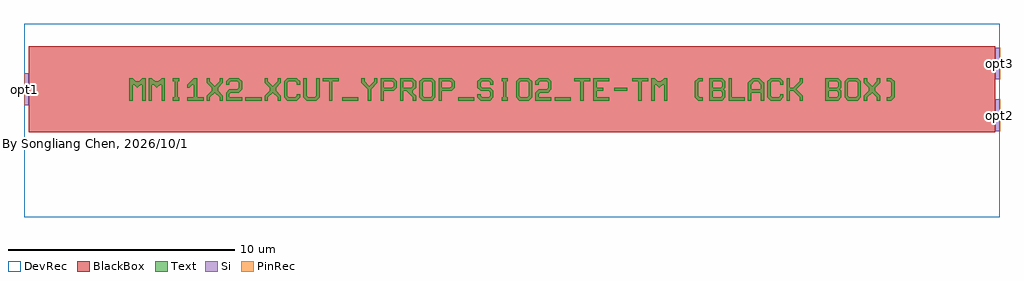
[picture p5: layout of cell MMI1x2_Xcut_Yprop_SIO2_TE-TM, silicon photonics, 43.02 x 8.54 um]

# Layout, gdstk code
import gdstk
lib = gdstk.Library(unit=1e-6, precision=1e-10)
def R(c, l, rs):  # rectangles x0, y0, x1, y1
    for r in rs: c.add(gdstk.rectangle(r[:2], r[2:], *l))
def P(c, l, *ps):  # polygons
    for p in ps: c.add(gdstk.Polygon(p, *l))
Si = (1, 0)
PinRec = (1, 10)
Text = (10, 0)
DevRec = (68, 0)
BlackBox = (998, 0)

text_12 = lib.new_cell('TEXT$12')
R(text_12, Text, [(5.112,0,5.822,0.142), (9.372,0,10.082,0.142), (14.484,0,15.194,0.142), (18.744,0,19.454,0.142), (21.371,0.426,21.939,0.568)])
P(text_12, Text, [(0,0),(0,0.994),(0.142,0.994),(0.284,0.852),(0.426,0.852),(0.568,0.994),(0.71,0.994),(0.71,0),(0.568,0),(0.568,0.71),(0.497,0.71),(0.355,0.568),(0.213,0.71),(0.142,0.71),(0.142,0)],
  [(0.852,0),(0.852,0.994),(0.994,0.994),(1.136,0.852),(1.278,0.852),(1.42,0.994),(1.562,0.994),(1.562,0),(1.42,0),(1.42,0.71),(1.349,0.71),(1.207,0.568),(1.065,0.71),(0.994,0.71),(0.994,0)],
  [(1.917,0),(1.917,0.142),(1.988,0.142),(1.988,0.852),(1.917,0.852),(1.917,0.994),(2.201,0.994),(2.201,0.852),(2.13,0.852),(2.13,0.142),(2.201,0.142),(2.201,0)],
  [(2.556,0),(2.556,0.142),(2.84,0.142),(2.84,0.71),(2.769,0.71),(2.627,0.568),(2.556,0.568),(2.556,0.71),(2.84,0.994),(2.982,0.994),(2.982,0.142),(3.266,0.142),(3.266,0)],
  [(3.408,0),(3.408,0.213),(3.621,0.426),(3.621,0.568),(3.408,0.781),(3.408,0.994),(3.55,0.994),(3.55,0.852),(3.763,0.639),(3.976,0.852),(3.976,0.994),(4.118,0.994),(4.118,0.781),(3.905,0.568),(3.905,0.426),(4.118,0.213),(4.118,0),(3.976,0),(3.976,0.142),(3.763,0.355),(3.55,0.142),(3.55,0)],
  [(4.26,0),(4.26,0.355),(4.402,0.497),(4.757,0.497),(4.828,0.568),(4.828,0.781),(4.757,0.852),(4.473,0.852),(4.402,0.781),(4.402,0.71),(4.26,0.71),(4.26,0.852),(4.402,0.994),(4.828,0.994),(4.97,0.852),(4.97,0.497),(4.828,0.355),(4.473,0.355),(4.402,0.284),(4.402,0.142),(4.97,0.142),(4.97,0)],
  [(5.964,0),(5.964,0.213),(6.177,0.426),(6.177,0.568),(5.964,0.781),(5.964,0.994),(6.106,0.994),(6.106,0.852),(6.319,0.639),(6.532,0.852),(6.532,0.994),(6.674,0.994),(6.674,0.781),(6.461,0.568),(6.461,0.426),(6.674,0.213),(6.674,0),(6.532,0),(6.532,0.142),(6.319,0.355),(6.106,0.142),(6.106,0)],
  [(6.958,0),(6.816,0.142),(6.816,0.852),(6.958,0.994),(7.384,0.994),(7.526,0.852),(7.526,0.71),(7.384,0.71),(7.384,0.781),(7.313,0.852),(7.029,0.852),(6.958,0.781),(6.958,0.213),(7.029,0.142),(7.313,0.142),(7.384,0.213),(7.384,0.284),(7.526,0.284),(7.526,0.142),(7.384,0)],
  [(7.81,0),(7.668,0.142),(7.668,0.994),(7.81,0.994),(7.81,0.213),(7.881,0.142),(8.165,0.142),(8.236,0.213),(8.236,0.994),(8.378,0.994),(8.378,0.142),(8.236,0)],
  [(8.804,0),(8.804,0.852),(8.52,0.852),(8.52,0.994),(9.23,0.994),(9.23,0.852),(8.946,0.852),(8.946,0)],
  [(10.508,0),(10.508,0.497),(10.224,0.781),(10.224,0.994),(10.366,0.994),(10.366,0.852),(10.579,0.639),(10.792,0.852),(10.792,0.994),(10.934,0.994),(10.934,0.781),(10.65,0.497),(10.65,0)],
  [(11.076,0),(11.076,0.994),(11.644,0.994),(11.786,0.852),(11.786,0.568),(11.644,0.426),(11.218,0.426),(11.218,0.568),(11.573,0.568),(11.644,0.639),(11.644,0.781),(11.573,0.852),(11.218,0.852),(11.218,0)],
  [(11.928,0),(11.928,0.994),(12.496,0.994),(12.638,0.852),(12.07,0.852),(12.07,0.568),(12.425,0.568),(12.496,0.639),(12.496,0.781),(12.425,0.852),(12.638,0.852),(12.638,0.568),(12.496,0.426),(12.496,0.355),(12.638,0.213),(12.638,0),(12.496,0),(12.496,0.142),(12.212,0.426),(12.07,0.426),(12.07,0)],
  [(12.922,0),(12.78,0.142),(12.78,0.852),(12.922,0.994),(13.348,0.994),(13.49,0.852),(13.49,0.497),(13.348,0.497),(13.348,0.781),(13.277,0.852),(12.993,0.852),(12.922,0.781),(12.922,0.213),(12.993,0.142),(13.277,0.142),(13.348,0.213),(13.348,0.497),(13.49,0.497),(13.49,0.142),(13.348,0)],
  [(13.632,0),(13.632,0.994),(14.2,0.994),(14.342,0.852),(14.342,0.568),(14.2,0.426),(13.774,0.426),(13.774,0.568),(14.129,0.568),(14.2,0.639),(14.2,0.781),(14.129,0.852),(13.774,0.852),(13.774,0)],
  [(15.478,0),(15.336,0.142),(15.336,0.284),(15.478,0.284),(15.478,0.213),(15.549,0.142),(15.833,0.142),(15.904,0.213),(15.904,0.355),(15.833,0.426),(15.478,0.426),(15.336,0.568),(15.336,0.852),(15.478,0.994),(15.904,0.994),(16.046,0.852),(16.046,0.71),(15.904,0.71),(15.904,0.781),(15.833,0.852),(15.549,0.852),(15.478,0.781),(15.478,0.639),(15.549,0.568),(15.904,0.568),(16.046,0.426),(16.046,0.142),(15.904,0)],
  [(16.401,0),(16.401,0.142),(16.472,0.142),(16.472,0.852),(16.401,0.852),(16.401,0.994),(16.685,0.994),(16.685,0.852),(16.614,0.852),(16.614,0.142),(16.685,0.142),(16.685,0)],
  [(17.182,0),(17.04,0.142),(17.04,0.852),(17.182,0.994),(17.608,0.994),(17.75,0.852),(17.75,0.497),(17.608,0.497),(17.608,0.781),(17.537,0.852),(17.253,0.852),(17.182,0.781),(17.182,0.213),(17.253,0.142),(17.537,0.142),(17.608,0.213),(17.608,0.497),(17.75,0.497),(17.75,0.142),(17.608,0)],
  [(17.892,0),(17.892,0.355),(18.034,0.497),(18.389,0.497),(18.46,0.568),(18.46,0.781),(18.389,0.852),(18.105,0.852),(18.034,0.781),(18.034,0.71),(17.892,0.71),(17.892,0.852),(18.034,0.994),(18.46,0.994),(18.602,0.852),(18.602,0.497),(18.46,0.355),(18.105,0.355),(18.034,0.284),(18.034,0.142),(18.602,0.142),(18.602,0)],
  [(19.88,0),(19.88,0.852),(19.596,0.852),(19.596,0.994),(20.306,0.994),(20.306,0.852),(20.022,0.852),(20.022,0)],
  [(20.448,0),(20.448,0.994),(21.158,0.994),(21.158,0.852),(20.59,0.852),(20.59,0.568),(20.874,0.568),(20.874,0.426),(20.59,0.426),(20.59,0.142),(21.158,0.142),(21.158,0)],
  [(22.436,0),(22.436,0.852),(22.152,0.852),(22.152,0.994),(22.862,0.994),(22.862,0.852),(22.578,0.852),(22.578,0)],
  [(23.004,0),(23.004,0.994),(23.146,0.994),(23.288,0.852),(23.43,0.852),(23.572,0.994),(23.714,0.994),(23.714,0),(23.572,0),(23.572,0.71),(23.501,0.71),(23.359,0.568),(23.217,0.71),(23.146,0.71),(23.146,0)],
  [(25.063,0),(24.921,0.142),(24.921,0.852),(25.063,0.994),(25.276,0.994),(25.276,0.852),(25.134,0.852),(25.063,0.781),(25.063,0.213),(25.134,0.142),(25.276,0.142),(25.276,0)],
  [(25.56,0),(25.56,0.994),(26.128,0.994),(26.27,0.852),(25.702,0.852),(25.702,0.568),(26.057,0.568),(26.128,0.639),(26.128,0.781),(26.057,0.852),(26.27,0.852),(26.27,0.568),(26.199,0.497),(26.27,0.426),(25.702,0.426),(25.702,0.142),(26.057,0.142),(26.128,0.213),(26.128,0.355),(26.057,0.426),(26.27,0.426),(26.27,0.142),(26.128,0)],
  [(26.412,0),(26.412,0.994),(26.554,0.994),(26.554,0.142),(27.122,0.142),(27.122,0)],
  [(27.264,0),(27.264,0.781),(27.477,0.994),(27.761,0.994),(27.903,0.852),(27.548,0.852),(27.406,0.71),(27.406,0.497),(27.832,0.497),(27.832,0.71),(27.69,0.852),(27.903,0.852),(27.974,0.781),(27.974,0),(27.832,0),(27.832,0.355),(27.406,0.355),(27.406,0)],
  [(28.258,0),(28.116,0.142),(28.116,0.852),(28.258,0.994),(28.684,0.994),(28.826,0.852),(28.826,0.71),(28.684,0.71),(28.684,0.781),(28.613,0.852),(28.329,0.852),(28.258,0.781),(28.258,0.213),(28.329,0.142),(28.613,0.142),(28.684,0.213),(28.684,0.284),(28.826,0.284),(28.826,0.142),(28.684,0)],
  [(28.968,0),(28.968,0.994),(29.11,0.994),(29.11,0.568),(29.252,0.568),(29.536,0.852),(29.536,0.994),(29.678,0.994),(29.678,0.781),(29.394,0.497),(29.678,0.213),(29.678,0),(29.536,0),(29.536,0.142),(29.252,0.426),(29.11,0.426),(29.11,0)],
  [(30.672,0),(30.672,0.994),(31.24,0.994),(31.382,0.852),(30.814,0.852),(30.814,0.568),(31.169,0.568),(31.24,0.639),(31.24,0.781),(31.169,0.852),(31.382,0.852),(31.382,0.568),(31.311,0.497),(31.382,0.426),(30.814,0.426),(30.814,0.142),(31.169,0.142),(31.24,0.213),(31.24,0.355),(31.169,0.426),(31.382,0.426),(31.382,0.142),(31.24,0)],
  [(31.666,0),(31.524,0.142),(31.524,0.852),(31.666,0.994),(32.092,0.994),(32.234,0.852),(32.234,0.497),(32.092,0.497),(32.092,0.781),(32.021,0.852),(31.737,0.852),(31.666,0.781),(31.666,0.213),(31.737,0.142),(32.021,0.142),(32.092,0.213),(32.092,0.497),(32.234,0.497),(32.234,0.142),(32.092,0)],
  [(32.376,0),(32.376,0.213),(32.589,0.426),(32.589,0.568),(32.376,0.781),(32.376,0.994),(32.518,0.994),(32.518,0.852),(32.731,0.639),(32.944,0.852),(32.944,0.994),(33.086,0.994),(33.086,0.781),(32.873,0.568),(32.873,0.426),(33.086,0.213),(33.086,0),(32.944,0),(32.944,0.142),(32.731,0.355),(32.518,0.142),(32.518,0)],
  [(33.37,0),(33.37,0.142),(33.512,0.142),(33.583,0.213),(33.583,0.781),(33.512,0.852),(33.37,0.852),(33.37,0.994),(33.583,0.994),(33.725,0.852),(33.725,0.142),(33.583,0)])

mmi1x2_xcut_yprop_sio2_t = lib.new_cell('MMI1x2_Xcut_Yprop_SIO2_TE-TM')
R(mmi1x2_xcut_yprop_sio2_t, Si, [(21.3,-1.84,21.5,-0.44), (-21.5,-0.7,-21.3,0.7), (21.3,0.44,21.5,1.84)])
R(mmi1x2_xcut_yprop_sio2_t, DevRec, [(-21.5,-5.6441,21.5,2.9)])
R(mmi1x2_xcut_yprop_sio2_t, BlackBox, [(-21.3,-1.9,21.3,1.9)])
mmi1x2_xcut_yprop_sio2_t.add(gdstk.FlexPath([(-21.49,0),(-21.51,0)], 1.4, ends="flush", simple_path=True, layer=1, datatype=10))  # PinRec
mmi1x2_xcut_yprop_sio2_t.add(gdstk.FlexPath([(21.49,-1.14),(21.51,-1.14)], 1.4, ends="flush", simple_path=True, layer=1, datatype=10))  # PinRec
mmi1x2_xcut_yprop_sio2_t.add(gdstk.FlexPath([(21.49,1.14),(21.51,1.14)], 1.4, ends="flush", simple_path=True, layer=1, datatype=10))  # PinRec
mmi1x2_xcut_yprop_sio2_t.add(gdstk.Reference(text_12, (-16.8625,-0.497)))
mmi1x2_xcut_yprop_sio2_t.add(gdstk.Label('By Songliang Chen, 2026/10/13', (-21,-2.4), layer=10, texttype=0))
mmi1x2_xcut_yprop_sio2_t.add(gdstk.Label('opt1', (-21.5,0), layer=1, texttype=10))
mmi1x2_xcut_yprop_sio2_t.add(gdstk.Label('opt2', (21.5,-1.14), layer=1, texttype=10))
mmi1x2_xcut_yprop_sio2_t.add(gdstk.Label('opt3', (21.5,1.14), layer=1, texttype=10))

lib.write_gds('MMI1x2_Xcut_Yprop_SIO2_TE-TM.gds')
